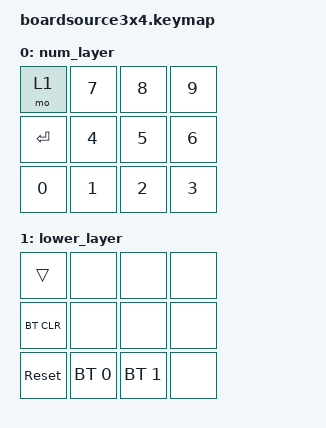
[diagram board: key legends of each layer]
/*
 * Copyright (c) 2020 The ZMK Contributors
 *
 * SPDX-License-Identifier: MIT
 */

#include <behaviors.dtsi>
#include <dt-bindings/zmk/bt.h>
#include <dt-bindings/zmk/keys.h>

/ {
    keymap {
        compatible = "zmk,keymap";

        num_layer {
            bindings = <
&mo 1      &kp N7  &kp N8  &kp N9
&kp ENTER  &kp N4  &kp N5  &kp N6
&kp N0     &kp N1  &kp N2  &kp N3
            >;
        };

        lower_layer {
            bindings = <
&trans      &none         &none         &none
&bt BT_CLR  &none         &none         &none
&sys_reset  &bt BT_SEL 0  &bt BT_SEL 1  &none
            >;
        };
    };
};
